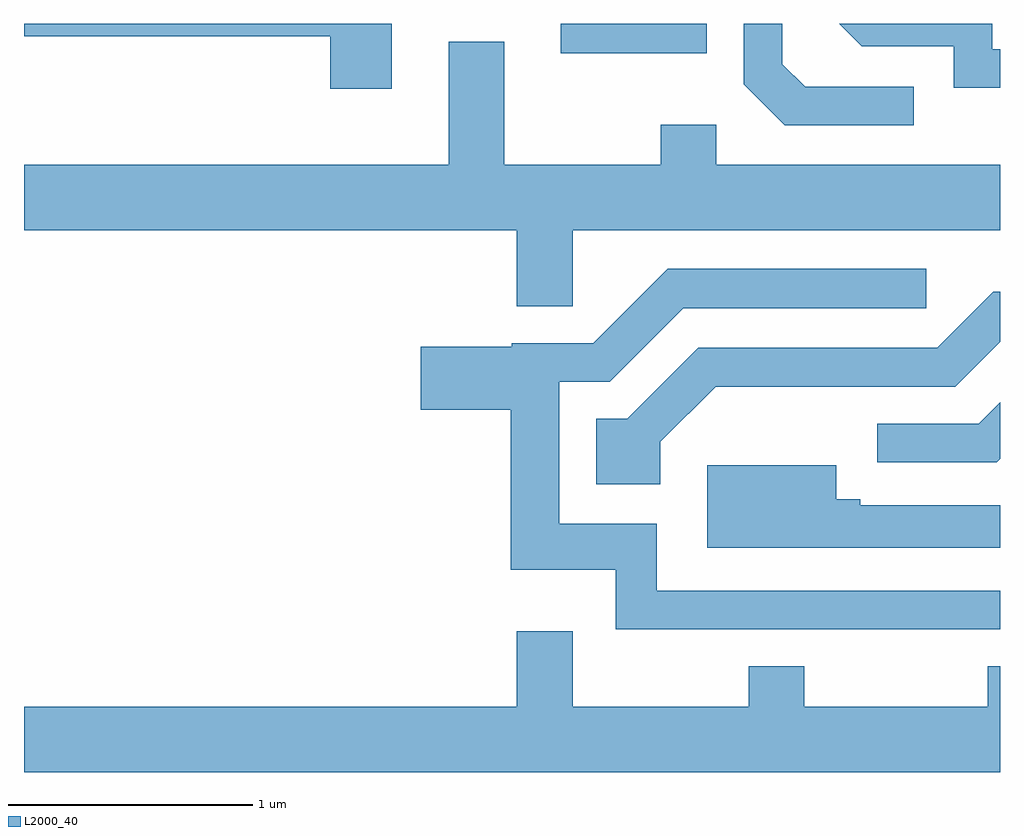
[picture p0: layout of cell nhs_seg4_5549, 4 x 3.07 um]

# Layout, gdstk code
import gdstk
lib = gdstk.Library(unit=1e-6, precision=1e-09)
def R(c, l, rs):  # rectangles x0, y0, x1, y1
    for r in rs: c.add(gdstk.rectangle(r[:2], r[2:], *l))
def P(c, l, *ps):  # polygons
    for p in ps: c.add(gdstk.Polygon(p, *l))
L2000_40 = (2000, 40)

nhs_seg4_5549 = lib.new_cell('nhs_seg4_5549')
R(nhs_seg4_5549, L2000_40, [(349.811,1339.861,350.409,1339.982)])
P(nhs_seg4_5549, L2000_40, [(351.258,1339.724),(350.812,1339.724),(350.719,1339.817),(350.719,1339.982),(350.561,1339.982),(350.561,1339.734),(350.729,1339.566),(351.258,1339.566)],
  [(349.119,1339.982),(347.611,1339.982),(347.611,1339.931),(348.866,1339.931),(348.866,1339.716),(349.119,1339.716)],
  [(351.611,1339.879),(351.579,1339.879),(351.579,1339.982),(350.953,1339.982),(351.044,1339.891),(351.421,1339.891),(351.421,1339.721),(351.611,1339.721)],
  [(349.859,1339.136),(351.611,1339.136),(351.611,1339.404),(350.449,1339.404),(350.449,1339.569),(350.221,1339.569),(350.221,1339.404),(349.579,1339.404),(349.579,1339.909),(349.351,1339.909),(349.351,1339.404),(347.611,1339.404),(347.611,1339.136),(349.631,1339.136),(349.631,1338.826),(349.859,1338.826)],
  [(351.611,1337.659),(350.204,1337.659),(350.204,1337.934),(349.804,1337.934),(349.804,1338.516),(350.012,1338.516),(350.312,1338.816),(351.308,1338.816),(351.308,1338.979),(350.249,1338.979),(349.944,1338.674),(349.61,1338.674),(349.61,1338.659),(349.236,1338.659),(349.236,1338.401),(349.606,1338.401),(349.606,1337.746),(350.036,1337.746),(350.036,1337.501),(351.611,1337.501)],
  [(350.219,1338.269),(350.447,1338.496),(351.427,1338.496),(351.611,1338.68),(351.611,1338.884),(351.584,1338.884),(351.354,1338.654),(350.374,1338.654),(350.084,1338.364),(349.956,1338.364),(349.956,1338.096),(350.219,1338.096)],
  [(351.611,1338.2),(351.611,1338.431),(351.524,1338.344),(351.108,1338.344),(351.108,1338.186),(351.597,1338.186)],
  [(351.611,1338.009),(351.039,1338.009),(351.039,1338.034),(350.939,1338.034),(350.939,1338.174),(350.411,1338.174),(350.411,1337.836),(351.611,1337.836)],
  [(351.611,1337.349),(351.561,1337.349),(351.561,1337.184),(350.809,1337.184),(350.809,1337.349),(350.581,1337.349),(350.581,1337.184),(349.859,1337.184),(349.859,1337.494),(349.631,1337.494),(349.631,1337.184),(347.611,1337.184),(347.611,1336.916),(351.611,1336.916)])

lib.write_gds('nhs_seg4_5549.gds')
